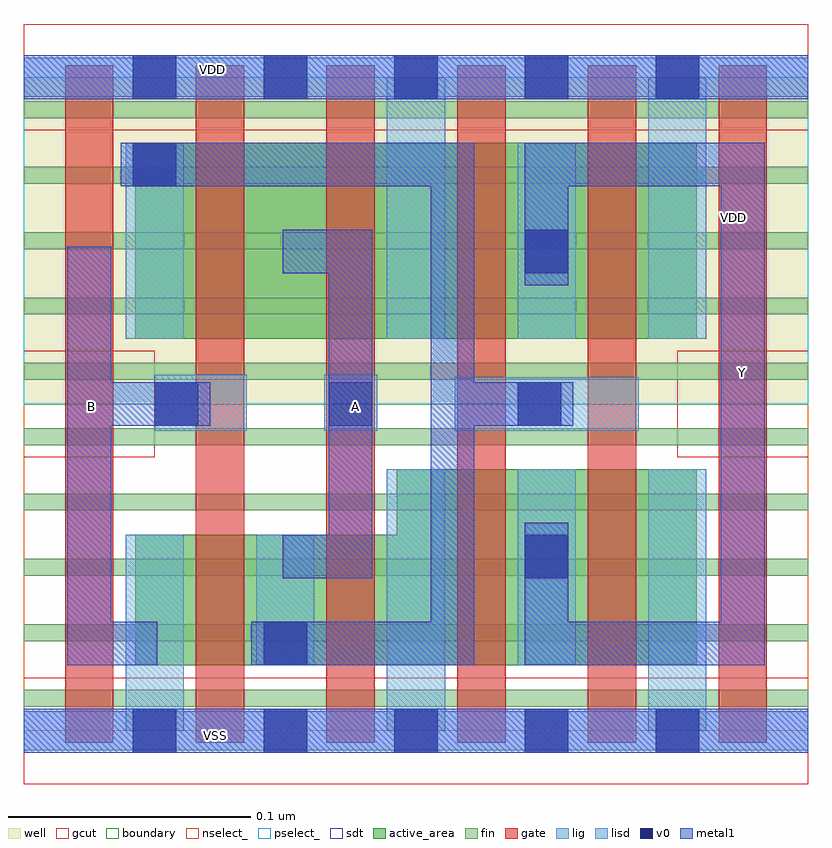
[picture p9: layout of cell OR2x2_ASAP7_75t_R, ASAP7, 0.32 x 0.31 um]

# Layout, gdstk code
import gdstk
lib = gdstk.Library(unit=1e-6, precision=1e-09)
def R(c, l, rs):  # rectangles x0, y0, x1, y1
    for r in rs: c.add(gdstk.rectangle(r[:2], r[2:], *l))
def A(c, l, x, y, w, h, nx, ny, dx, dy):  # array of equal rectangles
    R(c, l, [(x+i*dx, y+j*dy, x+i*dx+w, y+j*dy+h) for i in range(nx) for j in range(ny)])
def P(c, l, *ps):  # polygons
    for p in ps: c.add(gdstk.Polygon(p, *l))
well = (1, 0)
fin = (2, 0)
gate = (7, 0)
gcut = (10, 0)
active_area = (11, 0)
nselect_ = (12, 0)
pselect_ = (13, 0)
lig = (16, 0)
lisd = (17, 0)
v0 = (18, 0)
metal1 = (19, 0)
sdt = (88, 0)
boundary = (100, 0)

or2x2_asap7_75t_r = lib.new_cell('OR2x2_ASAP7_75t_R')
R(or2x2_asap7_75t_r, well, [(0,0.135,0.324,0.27)])
A(or2x2_asap7_75t_r, fin, 0, 0.01, 0.324, 0.007, 1, 10, 0, 0.027)
A(or2x2_asap7_75t_r, gate, 0.017, -0.005, 0.02, 0.28, 6, 1, 0.054, 0)
R(or2x2_asap7_75t_r, gcut, [(0,-0.022,0.324,0.022), (0,0.113,0.054,0.157), (0.27,0.113,0.324,0.157), (0,0.248,0.324,0.292)])
R(or2x2_asap7_75t_r, active_area, [(0.046,0.162,0.278,0.243)])
P(or2x2_asap7_75t_r, active_area, [(0.046,0.027),(0.046,0.081),(0.154,0.081),(0.154,0.108),(0.278,0.108),(0.278,0.027)])
R(or2x2_asap7_75t_r, nselect_, [(0,0,0.324,0.135)])
R(or2x2_asap7_75t_r, pselect_, [(0,0.135,0.324,0.27)])
R(or2x2_asap7_75t_r, lig, [(0,-0.008,0.324,0.008), (0.054,0.124,0.092,0.147), (0.124,0.124,0.146,0.147), (0.178,0.124,0.254,0.146), (0,0.262,0.324,0.278)])
R(or2x2_asap7_75t_r, lisd, [(0.042,0,0.066,0.081), (0.15,0,0.174,0.108), (0.258,0,0.282,0.108), (0.096,0.027,0.12,0.081), (0.204,0.027,0.228,0.108), (0.042,0.162,0.066,0.243), (0.15,0.162,0.174,0.27), (0.204,0.162,0.228,0.243), (0.258,0.162,0.282,0.27)])
A(or2x2_asap7_75t_r, v0, 0.045, -0.009, 0.018, 0.018, 5, 2, 0.054, 0.27)
R(or2x2_asap7_75t_r, v0, [(0.099,0.027,0.117,0.045), (0.207,0.063,0.225,0.081), (0.054,0.126,0.072,0.144), (0.126,0.126,0.144,0.144), (0.204,0.126,0.222,0.144), (0.207,0.189,0.225,0.207), (0.045,0.225,0.063,0.243)])
R(or2x2_asap7_75t_r, metal1, [(0,-0.009,0.324,0.009), (0,0.261,0.324,0.279)])
P(or2x2_asap7_75t_r, metal1, [(0.018,0.027),(0.018,0.2),(0.036,0.2),(0.036,0.144),(0.077,0.144),(0.077,0.126),(0.036,0.126),(0.036,0.045),(0.055,0.045),(0.055,0.027)],
  [(0.107,0.063),(0.107,0.081),(0.126,0.081),(0.126,0.189),(0.107,0.189),(0.107,0.207),(0.144,0.207),(0.144,0.063)],
  [(0.094,0.027),(0.094,0.045),(0.168,0.045),(0.168,0.225),(0.04,0.225),(0.04,0.243),(0.186,0.243),(0.186,0.144),(0.227,0.144),(0.227,0.126),(0.186,0.126),(0.186,0.027)],
  [(0.207,0.027),(0.207,0.086),(0.225,0.086),(0.225,0.045),(0.288,0.045),(0.288,0.225),(0.225,0.225),(0.225,0.184),(0.207,0.184),(0.207,0.243),(0.306,0.243),(0.306,0.027)])
A(or2x2_asap7_75t_r, sdt, 0.15, 0.027, 0.024, 0.081, 3, 2, 0.054, 0.135)
R(or2x2_asap7_75t_r, sdt, [(0.042,0.027,0.066,0.081), (0.096,0.027,0.12,0.081), (0.042,0.162,0.066,0.243)])
R(or2x2_asap7_75t_r, boundary, [(0,0,0.324,0.27)])
or2x2_asap7_75t_r.add(gdstk.Label('Y', (0.297,0.148), layer=19, texttype=251))
or2x2_asap7_75t_r.add(gdstk.Label('B', (0.028,0.134), layer=19, texttype=251))
or2x2_asap7_75t_r.add(gdstk.Label('A', (0.137,0.134), layer=19, texttype=251))
or2x2_asap7_75t_r.add(gdstk.Label('VSS', (0.079,-0.002), layer=19, texttype=251))
or2x2_asap7_75t_r.add(gdstk.Label('VDD', (0.078,0.273), layer=19, texttype=251))
or2x2_asap7_75t_r.add(gdstk.Label('VDD', (0.293,0.212), layer=1, texttype=251))
or2x2_asap7_75t_r.add(gdstk.Label('VSS', (0.362,0.211), layer=3, texttype=251))

lib.write_gds('OR2x2_ASAP7_75t_R.gds')
